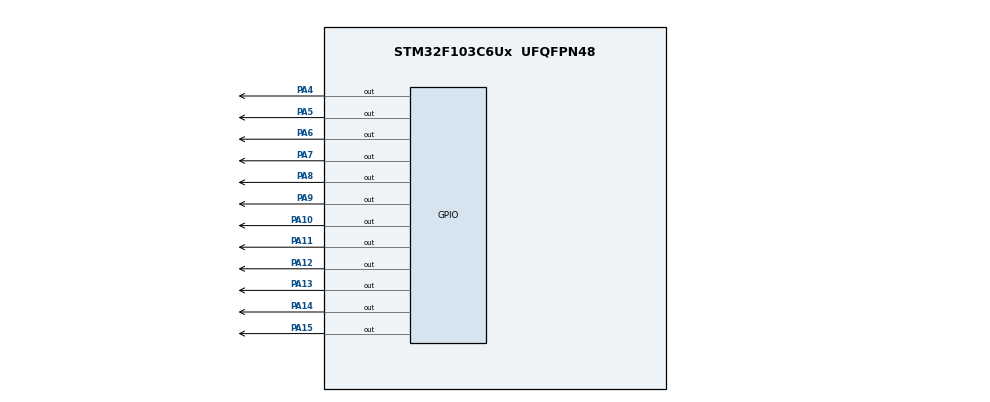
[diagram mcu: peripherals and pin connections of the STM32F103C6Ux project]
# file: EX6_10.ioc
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Mcu.Family=STM32F1
Mcu.Name=STM32F103C6Ux
Mcu.Package=UFQFPN48
NVIC.PriorityGroup=NVIC_PRIORITYGROUP_4
PA10.Signal=GPIO_Output
PA11.Signal=GPIO_Output
PA12.Signal=GPIO_Output
PA13.Signal=GPIO_Output
PA14.Signal=GPIO_Output
PA15.Signal=GPIO_Output
PA4.Signal=GPIO_Output
PA5.Signal=GPIO_Output
PA6.Signal=GPIO_Output
PA7.Signal=GPIO_Output
PA8.Signal=GPIO_Output
PA9.Signal=GPIO_Output
ProjectManager.HeapSize=0x200
ProjectManager.StackSize=0x400
ProjectManager.TargetToolchain=STM32CubeIDE
RCC.APB1Freq_Value=8000000
RCC.APB2Freq_Value=8000000
VP_SYS_VS_ND.Mode=No_Debug
board=custom

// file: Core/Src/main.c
/* USER CODE BEGIN Header */
/**
 ******************************************************************************
 * @file           : main.c
 * @brief          : Main program body
 ******************************************************************************
 * @attention
 *
 * <h2><center>&copy; Copyright (c) 2025 STMicroelectronics.
 * All rights reserved.</center></h2>
 *
 * This software component is licensed by ST under BSD 3-Clause license,
 * the "License"; You may not use this file except in compliance with the
 * License. You may obtain a copy of the License at:
 *                        opensource.org/licenses/BSD-3-Clause
 *
 ******************************************************************************
 */
/* USER CODE END Header */
#include "main.h"

void SystemClock_Config(void);
static void MX_GPIO_Init(void);

int main(void)
{

  /* MCU Configuration--------------------------------------------------------*/

  /* Reset of all peripherals, Initializes the Flash interface and the Systick. */
  HAL_Init();

  /* Configure the system clock */
  SystemClock_Config();

  /* Initialize all configured peripherals */
  MX_GPIO_Init();
  /* USER CODE BEGIN 2 */
	//EX6 to EX9 function
	//EX7: Clear all clock
	void clearAllClock() {
		for (int i = 4; i <= 15; i++) {
			HAL_GPIO_WritePin(GPIOA, (1 << i), GPIO_PIN_RESET); // Turn off all leds
		}
	}

	//EX8: Set number on clock
	void setNumberOnClock(int num) { //Turn on led on Num
		if (num < 0 || num > 11)
			return; // safety check

		// Each LED corresponds to PA(num+4) due to PA4 is the begin Pin
		HAL_GPIO_WritePin(GPIOA, (1 << (num + 4)), GPIO_PIN_SET);
	}
	//EX9: Clear number on clock
	void clearNumberOnClock(int num) { // Turn off led on Num
		if (num < 0 || num > 11)
			return;

		HAL_GPIO_WritePin(GPIOA, (1 << (num + 4)), GPIO_PIN_RESET);
	}
	void Testing_Ex_7_8_9() { // For testing EX7,8,9
		for (int i = 0; i < 12; i++) { //Turn on and off and on each led then turn off all leds
			setNumberOnClock(i);     // test EX8
			HAL_Delay(50);
			clearNumberOnClock(i);   // test EX9
			HAL_Delay(50);
			setNumberOnClock(i);
			HAL_Delay(50);
		}
		clearAllClock(); //test EX7
		HAL_Delay(100);
	}
  /* USER CODE END 2 */

  /* Infinite loop */
  /* USER CODE BEGIN WHILE */
	int first_time = 1;
	// input for hour, minute, second
	int hour = 0;
	int minute = 0;
	int second = 0;

	while (1) {
//----------------TESTING--------------------
		if (first_time == 1) {
//EX6 : Testing connection
			for (int i = 4; i <= 15; i++) {
				// Turn ON current LED
				HAL_GPIO_WritePin(GPIOA, (1 << i), GPIO_PIN_SET);
				HAL_Delay(50);
				// Turn OFF current LED
				HAL_GPIO_WritePin(GPIOA, (1 << i), GPIO_PIN_RESET);
			}

//Testing EX 7, 8, 9:

			Testing_Ex_7_8_9();
			first_time = 0;
		}

//------------------------------------------
//---------------EX10-----------------------

		setNumberOnClock(hour / 5 % 12);   // Hour LED
		setNumberOnClock(minute / 5 % 12); // Minute LED
		setNumberOnClock(second / 5 % 12); // Second LED

		// Step 3: Wait 1s
		HAL_Delay(50);

		// Step 4: Update time
		clearNumberOnClock(second / 5 % 12);
		second++;
		if (second >= 60) {
			second = 0;
			clearNumberOnClock(minute / 5 % 12);
			minute++;
			if (minute >= 60) {
				minute = 0;
				clearNumberOnClock(hour / 5 % 12);
				hour++;
				if (hour >= 12) {
					hour = 0;
				}
			}
		}

    /* USER CODE END WHILE */

	}
}

void SystemClock_Config(void)
{
  RCC_OscInitTypeDef RCC_OscInitStruct = {0};
  RCC_ClkInitTypeDef RCC_ClkInitStruct = {0};

  /** Initializes the RCC Oscillators according to the specified parameters
  * in the RCC_OscInitTypeDef structure.
  */
  RCC_OscInitStruct.OscillatorType = RCC_OSCILLATORTYPE_HSI;
  RCC_OscInitStruct.HSIState = RCC_HSI_ON;
  RCC_OscInitStruct.HSICalibrationValue = RCC_HSICALIBRATION_DEFAULT;
  RCC_OscInitStruct.PLL.PLLState = RCC_PLL_NONE;
  if (HAL_RCC_OscConfig(&RCC_OscInitStruct) != HAL_OK)
  {
    Error_Handler();
  }
  /** Initializes the CPU, AHB and APB buses clocks
  */
  RCC_ClkInitStruct.ClockType = RCC_CLOCKTYPE_HCLK|RCC_CLOCKTYPE_SYSCLK
                              |RCC_CLOCKTYPE_PCLK1|RCC_CLOCKTYPE_PCLK2;
  RCC_ClkInitStruct.SYSCLKSource = RCC_SYSCLKSOURCE_HSI;
  RCC_ClkInitStruct.AHBCLKDivider = RCC_SYSCLK_DIV1;
  RCC_ClkInitStruct.APB1CLKDivider = RCC_HCLK_DIV1;
  RCC_ClkInitStruct.APB2CLKDivider = RCC_HCLK_DIV1;

  if (HAL_RCC_ClockConfig(&RCC_ClkInitStruct, FLASH_LATENCY_0) != HAL_OK)
  {
    Error_Handler();
  }
}

static void MX_GPIO_Init(void)
{
  GPIO_InitTypeDef GPIO_InitStruct = {0};

  /* GPIO Ports Clock Enable */
  __HAL_RCC_GPIOA_CLK_ENABLE();

  /*Configure GPIO pin Output Level */
  HAL_GPIO_WritePin(GPIOA, GPIO_PIN_4|GPIO_PIN_5|GPIO_PIN_6|GPIO_PIN_7
                          |GPIO_PIN_8|GPIO_PIN_9|GPIO_PIN_10|GPIO_PIN_11
                          |GPIO_PIN_12|GPIO_PIN_13|GPIO_PIN_14|GPIO_PIN_15, GPIO_PIN_RESET);

  /*Configure GPIO pins : PA4 PA5 PA6 PA7
                           PA8 PA9 PA10 PA11
                           PA12 PA13 PA14 PA15 */
  GPIO_InitStruct.Pin = GPIO_PIN_4|GPIO_PIN_5|GPIO_PIN_6|GPIO_PIN_7
                          |GPIO_PIN_8|GPIO_PIN_9|GPIO_PIN_10|GPIO_PIN_11
                          |GPIO_PIN_12|GPIO_PIN_13|GPIO_PIN_14|GPIO_PIN_15;
  GPIO_InitStruct.Mode = GPIO_MODE_OUTPUT_PP;
  GPIO_InitStruct.Pull = GPIO_NOPULL;
  GPIO_InitStruct.Speed = GPIO_SPEED_FREQ_LOW;
  HAL_GPIO_Init(GPIOA, &GPIO_InitStruct);

}

void Error_Handler(void)
{
	__disable_irq();
	while (1) {
	}
}

/************************ (C) COPYRIGHT STMicroelectronics *****END OF FILE****/
